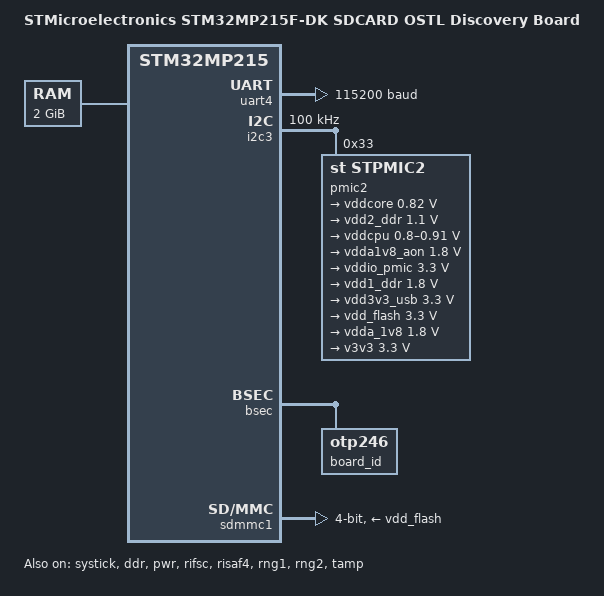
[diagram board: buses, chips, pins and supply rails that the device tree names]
// SPDX-License-Identifier: (GPL-2.0-only OR BSD-3-Clause)
/*
 * Copyright (C) STMicroelectronics 2023 - All Rights Reserved
 */

/dts-v1/;

#include <dt-bindings/clock/stm32mp21-clksrc.h>
#include <dt-bindings/reset/st,stm32mp21-rcc.h>
#include <dt-bindings/rif/stm32mp25-rif.h>
#include <dt-bindings/rif/stm32mp21-rifsc.h>
#include <dt-bindings/rif/stm32mp2-risaf.h>
#include <dt-bindings/rif/stm32mp25-risab.h>

#include "stm32mp215.dtsi"
#include "stm32mp21x-bl2.dtsi"
#include "stm32mp215f-dk-cm33tdcid-ostl-bl2-resmem.dtsi"
#include "stm32mp215f-dk-cm33tdcid-ostl-sdcard-bl2-rcc.dtsi"
#include "stm32mp215f-dk-cm33tdcid-ostl-sdcard-bl2-rif.dtsi"
#include "stm32mp21-lpddr4-1x16Gbits-1x16bits-800MHz.dtsi"
#include "stm32mp21-pinctrl.dtsi"
#include "stm32mp21xxan-pinctrl.dtsi"

/ {
	model = "STMicroelectronics STM32MP215F-DK SDCARD OSTL Discovery Board";
	compatible = "st,stm32mp215f-dk-m33tdcid-ostl-sdcard", "st,stm32mp215f-dk", "st,stm32mp215";

	aliases {
		serial0 = &uart4;
	};

	chosen {
		stdout-device = &uart4;
		tfm,entropy = &rng1;
	};

	memory@80000000 {
		device_type = "memory";
		reg = <0x80000000 0x80000000>;
	};

	otp {
		nvmem-cells = <&implementation_id>,
			      <&rpn_otp>,
			      <&bootrom_config_9>,
			      <&id_otp>,
			      <&package_otp>,
			      <&hconf1_otp>,
			      <&bl2_rotpk_0>,
			      <&bl2_rotpk_0>, /*keep the same key for slot1 */
			      <&board_id>,
			      <&entropy_seed>,
			      <&iak>;
		nvmem-cell-names = "implementation_id",
				   "rpn_otp",
				   "bootrom_config_9",
				   "id_otp",
				   "package_otp",
				   "hconf1_otp",
				   "bl2_rotpk_0",
				   "bl2_rotpk_1",
				   "board_id",
				   "entropy_seed",
				   "iak";
	};

};

&uart4 {
	pinctrl-names = "default";
	pinctrl-0 = <&uart4_pins_a>;
	clocks = <&rcc CK_KER_UART4>;
	current-speed = <115200>;
	status = "okay";
};

&systick {
	clocks = <&rcc CK_ICN_HS_MCU>;
	clock-frequency = <1000000>; /* tick at 1us */
	status = "okay";
};

&i2c3 {
	pinctrl-names = "default";
	pinctrl-0 = <&i2c3_pins_a>;
	i2c-scl-rising-time-ns = <185>;
	i2c-scl-falling-time-ns = <20>;
	clock-frequency = <100000>;
	status = "okay";

	#address-cells = <1>;
	#size-cells = <0>;

	pmic2: pmic@33 {
//		compatible = "st,stpmic2l";
		compatible = "st,stpmic2";
		reg = <0x33>;
		status = "okay";

		regulators {
			compatible = "st,stpmic2-regulators";

			vddcore: buck1 {
				regulator-name = "vddcore";
				regulator-min-microvolt = <820000>;
				regulator-max-microvolt = <820000>;
				regulator-always-on;
			};
			vdd2_ddr: buck2 {
				regulator-name = "vdd2_ddr";
				regulator-min-microvolt = <1100000>;
				regulator-max-microvolt = <1100000>;
			};
			vddcpu: buck3 {
				regulator-name = "vddcpu";
				regulator-min-microvolt = <800000>;
				regulator-max-microvolt = <910000>;
				regulator-always-on;
			};
			vdda1v8_aon: ldo1 {
				regulator-name = "vdda1v8_aon";
				regulator-min-microvolt = <1800000>;
				regulator-max-microvolt = <1800000>;
				regulator-always-on;
				st,mask-reset;
			};
			vddio_pmic: ldo2 {
				regulator-name = "vddio_pmic";
				regulator-min-microvolt = <3300000>;
				regulator-max-microvolt = <3300000>;
				regulator-always-on;
				st,mask-reset;
			};
			vdd1_ddr: ldo3 {
				regulator-name = "vdd1_ddr";
				regulator-min-microvolt = <1800000>;
				regulator-max-microvolt = <1800000>;
				regulator-enable-ramp-delay = <1000>;
			};
			vdd3v3_usb: ldo4 {
				regulator-name = "vdd3v3_usb";
				regulator-min-microvolt = <3300000>;
				regulator-max-microvolt = <3300000>;
			};
			vdd_flash: ldo5 {
				regulator-name = "vdd_flash";
				regulator-min-microvolt = <3300000>;
				regulator-max-microvolt = <3300000>;
			};
			vdda_1v8: ldo6 {
				regulator-name = "vdda_1v8";
				regulator-min-microvolt = <1800000>;
				regulator-max-microvolt = <1800000>;
				regulator-always-on;
			};
			v3v3: gpo1 {
				regulator-name = "v3v3";
				regulator-min-microvolt = <3300000>;
				regulator-max-microvolt = <3300000>;
				regulator-always-on;
			};
		};
	};
};

&ddr {
	vdd1-supply = <&vdd1_ddr>;
	vdd2-supply = <&vdd2_ddr>;
	vddq-supply = <&vdd2_ddr>;
	status = "okay";
};

&bsec {
	memory-region = <&bsec_mirror>;
	status = "okay";

	board_id: otp246@3d8 {
		#nvmem-cell-cells = <0>;
		reg = <0x3d8 0x4>;
	};
};

&pwr {
	status = "okay";

	vdda18adc {
		status = "okay";
		regulator-min-microvolt = <1800000>;
		regulator-max-microvolt = <1800000>;
		vin-supply = <&vdda_1v8>;
	};

	vddio1 {
		status = "okay";
		vin-supply = <&vddio_pmic>;
	};

	vddio2 {
		status = "okay";
		vin-supply = <&vdda_1v8>;
	};

	vddio3 {
		status = "okay";
		vin-supply = <&vddio_pmic>;
	};

	vddio {
		status = "okay";
		vin-supply = <&vddio_pmic>;
	};
};

&hconf1_otp {
	shadow-provisionning = <0x00018000>;
};

&rifsc {
	status = "okay";
};

&risaf4 {
	status = "okay";
	entropy = <&rng2>;
};

&rng1 {
	status = "okay";
};

&rng2 {
	status = "okay";
};

&sdmmc1 {
	pinctrl-names = "default";
	pinctrl-0 = <&sdmmc1_b4_pins_a>;
	st,neg-edge;
	no-mmc;
	bus-width = <4>;
	vmmc-supply = <&vdd_flash>;
	vqmmc-supply = <&vddio1>;
	status = "okay";
};

&tamp {
	status = "okay";
};
